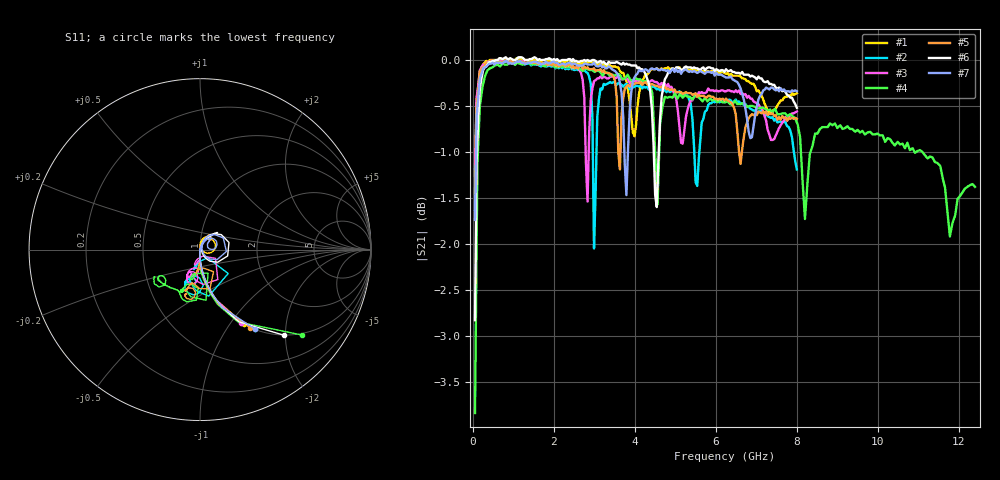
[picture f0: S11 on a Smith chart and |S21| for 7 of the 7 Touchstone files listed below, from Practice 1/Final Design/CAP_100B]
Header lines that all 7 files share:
!  American Technical Ceramics  Date:  3/13/98
!  One Norden Lane
!  Huntington Station,  NY.  11746-2102
!  Tel:  (516) 547-5700  Fax:  (516) 547-5748
!  Description: Porcelain, High Q, Low ESR
!  Application: Bypass, Coupling, Timing, Feedback
!  Tuning, Impedance Match, Blocking
# GHZ S DB R 50
! Freq  |S11|  S11 Ph  |S21|  S21 Ph  |S12|  S12 Ph  |S22|  S22 Ph
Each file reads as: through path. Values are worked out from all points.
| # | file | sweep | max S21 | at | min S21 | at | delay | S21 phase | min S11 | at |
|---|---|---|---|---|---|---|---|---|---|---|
| 1 | 100A560G.S2P | 50 MHz to 8 GHz | 0.02 dB | 1.16 GHz | -1.3 dB | 50 MHz | 3.77 ps | -1 deg at 4.03 GHz | -62.3 dB | 1.52 GHz |
| 2 | 100B470F.S2P | 50 MHz to 8 GHz | -0.01 dB | 1.12 GHz | -2.0 dB | 2.99 GHz | 5.53 ps | -6 deg at 4.03 GHz | -23.7 dB | 2.95 GHz |
| 3 | 100B560J.S2P | 50 MHz to 8 GHz | -0.01 dB | 450 MHz | -1.5 dB | 2.83 GHz | 5.3 ps | -6 deg at 4.03 GHz | -27.8 dB | 2.75 GHz |
| 4 | 180R270F.S2P | 50 MHz to 12.4 GHz | -0.03 dB | 910 MHz | -3.8 dB | 50 MHz | - | -1 deg at 6.23 GHz | -19.6 dB | 1.1 GHz |
| 5 | 180R470K.S2P | 50 MHz to 8 GHz | 0.00 dB | 450 MHz | -1.4 dB | 50 MHz | - | -1 deg at 4.03 GHz | -22.2 dB | 850 MHz |
| 6 | 700A330F.S2P | 50 MHz to 8 GHz | 0.03 dB | 810 MHz | -2.8 dB | 50 MHz | 4.63 ps | -4 deg at 4.03 GHz | -56.9 dB | 1.96 GHz |
| 7 | 700A470G.S2P | 50 MHz to 8 GHz | -0.01 dB | 1.16 GHz | -1.7 dB | 50 MHz | 3.4 ps | -0 deg at 4.03 GHz | -64.5 dB | 1.68 GHz |
